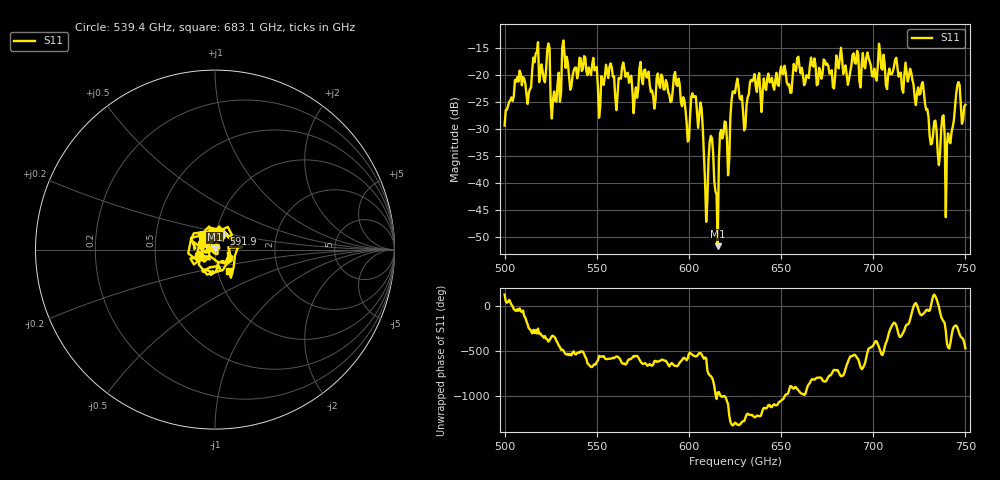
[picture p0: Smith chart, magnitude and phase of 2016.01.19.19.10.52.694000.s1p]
!Created with skrf (http://scikit-rf.org).
# GHz S RI R 50.0
!freq ReS11 ImS11
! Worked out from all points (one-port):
!   401 points, 500 GHz to 750 GHz, reference 50 ohm
!   lowest |S11| = -51.7 dB at 615.6 GHz (marker M1), VSWR 1.01, Z = 49.9 + j0.231 ohm
!   |S11| at or under -10 dB: start of sweep to end of sweep
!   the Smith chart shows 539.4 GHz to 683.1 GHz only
!   S11 on the Smith chart (normalised r, x): 539.4 GHz: 0.83, -0.05; 591.9 GHz: 1.09, +0.19; 683.1 GHz: 1.13, -0.27
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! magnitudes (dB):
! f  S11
! 500 GHz  -29.3
! 513.1 GHz  -23.3
! 516.9 GHz  -15.9
! 523.1 GHz  -15.3
! 526.2 GHz  -24.5
! 531.2 GHz  -15.0
! 539.4 GHz  -20.5
! 562.5 GHz  -20.6
! 591.9 GHz  -20.1
! 593.8 GHz  -22.0
! 599.4 GHz  -32.3
! 602.5 GHz  -24.0
! 606.2 GHz  -25.0
! 609.4 GHz  -47.1
! 611.9 GHz  -31.2
! 615.6 GHz  -51.7
! 618.1 GHz  -31.7
! 621.2 GHz  -38.5
! 625 GHz  -23.3
! 630.6 GHz  -29.6
! 634.4 GHz  -21.1
! 656.2 GHz  -20.3
! 683.1 GHz  -17.1
! 687.5 GHz  -19.4
! 718.8 GHz  -21.1
! 740.6 GHz  -30.8
! 745.6 GHz  -21.8
! 750 GHz  -25.5
